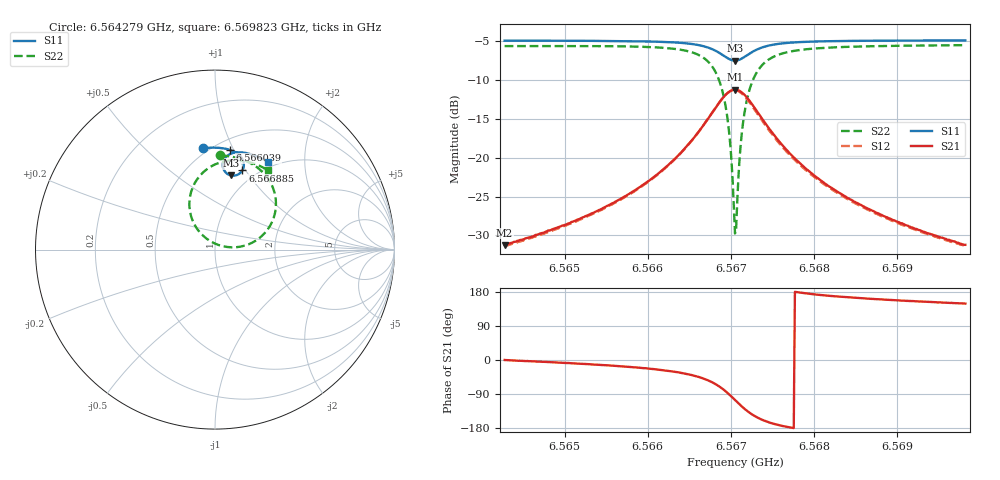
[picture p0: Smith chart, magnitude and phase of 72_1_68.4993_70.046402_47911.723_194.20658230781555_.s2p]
#  HZ  S  RI  R  50.00
! Rohde & Schwarz Vector Network Analyzer
! Rohde-Schwarz,ZNB20-2Port,1311601062101988,3.16
! Created: UTC 3/20/2024, 5:06:56 PM
! freq[Hz]  re:S11  im:S11  re:S21  im:S21  re:S12  im:S12  re:S22  im:S22
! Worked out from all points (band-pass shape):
!   401 points, 6.564279 GHz to 6.569823 GHz, reference 50 ohm
!   highest |S21| = -11.21 dB at 6.567051 GHz (marker M1); lowest = -31.2 dB at 6.564279 GHz (marker M2)
!   |S21| within 3 dB of the highest: 6.566775 GHz to 6.567329 GHz (553.9 kHz wide, 0.00843 % of centre)
!   lowest |S11| = -7.5 dB at 6.567051 GHz (marker M3), VSWR 2.46, Z = 41.1 + j41.3 ohm
!   |S11| at or under -10 dB: nowhere
!   |S22| runs from -29.8 to -5.5 dB; largest |S21 - S12| = 0.013
!   S11 on the Smith chart (normalised r, x): 6.564279 GHz: 0.46, +0.77; 6.566039 GHz: 0.60, +0.97; 6.566885 GHz: 0.86, +0.97; 6.569823 GHz: 0.92, +1.33
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6.5642788e9  -0.0689 0.565  0.0274 2.81e-05  0.0269 -0.000509  0.0306 0.5245
6.5652075e9  0.00691 0.5678  0.0404 -0.00729  0.0397 -0.00783  0.1174 0.5122
6.5660392e9  0.0836 0.5557  0.0668 -0.0288  0.0658 -0.0295  0.2227 0.4666
6.5661362e9  0.0937 0.5523  0.072 -0.0343  0.0709 -0.0351  0.2388 0.455
6.5664273e9  0.1267 0.5346  0.0917 -0.0639  0.0902 -0.0651  0.2946 0.3968
6.5666491e9  0.1524 0.5054  0.1062 -0.1145  0.1038 -0.1166  0.3356 0.2991
6.5667877e9  0.1608 0.472  0.0993 -0.1728  0.0951 -0.1758  0.3303 0.1879
6.5668848e9  0.1522 0.4411  0.0675 -0.2257  0.0602 -0.2287  0.2738 0.0888
6.5669679e9  0.1275 0.418  0.00808 -0.2632  -0.00234 -0.2632  0.1656 0.0222
6.5669957e9  0.1155 0.4136  -0.0178 -0.269  -0.0291 -0.2674  0.1184 0.0133
6.5670372e9  0.096 0.4121  -0.0596 -0.2683  -0.071 -0.2635  0.0441 0.0187
6.5670511e9  0.0895 0.4131  -0.0736 -0.2651  -0.0847 -0.2595  0.0199 0.0257
6.567065e9  0.083 0.4149  -0.087 -0.2606  -0.0978 -0.2541  -0.00345 0.035
6.5670788e9  0.0768 0.4173  -0.1 -0.2549  -0.1102 -0.2474  -0.0255 0.0466
6.5671204e9  0.0608 0.4285  -0.1338 -0.2311  -0.1418 -0.2216  -0.0812 0.0924
6.567162e9  0.0499 0.4433  -0.1581 -0.2011  -0.1632 -0.1904  -0.1186 0.1482
6.5672174e9  0.0434 0.4646  -0.175 -0.1589  -0.1769 -0.1483  -0.1411 0.2242
6.5672868e9  0.0455 0.4885  -0.1776 -0.1123  -0.1768 -0.1031  -0.1371 0.3054
6.5675363e9  0.0841 0.5323  -0.1345 -0.0247  -0.1316 -0.0208  -0.0398 0.4516
6.5679798e9  0.1447 0.5422  -0.0785 0.00838  -0.0765 0.00963  0.0892 0.4972
6.5689086e9  0.2301 0.5207  -0.0379 0.0148  -0.0371 0.0152  0.2189 0.4783
6.5698234e9  0.2972 0.4873  -0.0235 0.0142  -0.023 0.0144  0.2978 0.4411
